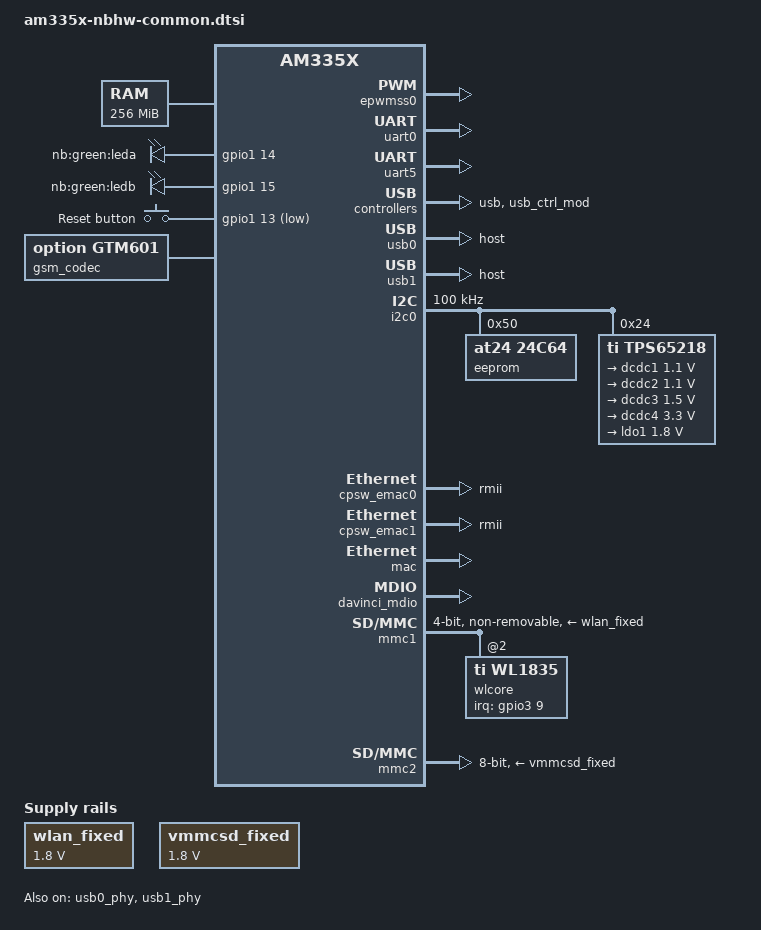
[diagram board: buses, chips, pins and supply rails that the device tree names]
/*
 * Copyright (C) 2012 Texas Instruments Incorporated - http://www.ti.com/
 *
 * This program is free software; you can redistribute it and/or modify
 * it under the terms of the GNU General Public License version 2 as
 * published by the Free Software Foundation.
 */

#include <dt-bindings/interrupt-controller/irq.h>
/ {
	cpus {
		cpu@0 {
			cpu0-supply = <&dcdc1>;
		};
	};

	memory {
		device_type = "memory";
		reg = <0x80000000 0x10000000>; /* 256 MB */
	};

	leds {
		pinctrl-names = "default";
		pinctrl-0 = <&user_leds_s0>;

		compatible = "gpio-leds";

		led@1 {
			label = "nb:green:leda";
			gpios = <&gpio1 14 GPIO_ACTIVE_HIGH>;
			default-state = "off";
		};

		led@2 {
			label = "nb:green:ledb";
			gpios = <&gpio1 15 GPIO_ACTIVE_HIGH>;
			default-state = "on";
		};
	};

	gpio-keys {
		pinctrl-names = "default";
		pinctrl-0 = <&user_buttons_s0>;

		compatible = "gpio-keys";

		reset_button: reset-button {
			label = "Reset button";
			gpios = <&gpio1 13 GPIO_ACTIVE_LOW>;
			linux,code = <0x198>; /* KEY_RESTART */
		};
	};


	wlan_fixed: fixedregulator@0 {
		compatible = "regulator-fixed";
		regulator-name = "wlan_fixed";
		regulator-min-microvolt = <1800000>;
		regulator-max-microvolt = <1800000>;

		startup-delay-us = <700000>;
		enable-active-high;
	};

	vmmcsd_fixed: fixedregulator@1 {
		compatible = "regulator-fixed";
		regulator-name = "vmmcsd_fixed";
		regulator-min-microvolt = <1800000>;
		regulator-max-microvolt = <1800000>;
	};

	gsm_codec: gtm601_codec {
		compatible = "option,gtm601";
		#sound-dai-cells = <0>;
	};

	sound {
		compatible = "simple-audio-card";
		simple-audio-card,name = "AM335x-GSM";
		simple-audio-card,bitclock-master = <&sound_master>;
		simple-audio-card,frame-master = <&sound_master>;
		simple-audio-card,format = "i2s";

		simple-audio-card,cpu {
			sound-dai = <&mcasp0>;
		};

		sound_master: simple-audio-card,codec {
			sound-dai = <&gsm_codec>;
		};
	};
};

&epwmss0 {
	status = "okay";

	ecap0: ecap@48300100 {
		status = "okay";
		pinctrl-names = "default";
		pinctrl-0 = <&ecap0_pins>;
	};
};

&uart0 {
	pinctrl-names = "default";
	pinctrl-0 = <&uart0_pins>;

	status = "okay";
};

&uart5 {
	pinctrl-names = "default";
	pinctrl-0 = <&bt_uart_pins>;

	status = "okay";
};

&usb {
	status = "okay";
};

&usb_ctrl_mod {
	status = "okay";
};

&usb0_phy {
	pinctrl-names = "default";
	pinctrl-0 =  <&usb_gsm_pins>;
	status = "okay";
};

&usb1_phy {
	pinctrl-names = "default";
	pinctrl-0 =  <&usb_expansion_pins>;
	status = "okay";
};

&usb0 {
	status = "okay";
	dr_mode = "host";
};

&usb1 {
	status = "okay";
	dr_mode = "host";
};

&cppi41dma  {
	status = "okay";
};

&i2c0 {
	pinctrl-names = "default";
	pinctrl-0 = <&i2c0_pins>;

	status = "okay";
	clock-frequency = <100000>;

	eeprom: at24@50 {
		compatible = "at24,24c64";
		pagesize = <8>;
		reg = <0x50>;
	};

	tps65218: tps65218@24 {
		reg = <0x24>;
		compatible = "ti,tps65218";
		interrupt-parent = <&intc>;
		interrupts = <7>;	/* NNMI */
		#interrupt-cells = <2>;

		dcdc1: regulator-dcdc1 {
			compatible = "ti,tps65218-dcdc1";
			regulator-name = "vdd_core";
			regulator-min-microvolt = <1100000>;
			regulator-max-microvolt = <1100000>;
			regulator-boot-on;
			regulator-always-on;
		};

		dcdc2: regulator-dcdc2 {
			compatible = "ti,tps65218-dcdc2";
			regulator-name = "vdd_mpu";
			regulator-min-microvolt = <1100000>;
			regulator-max-microvolt = <1100000>;
			regulator-boot-on;
			regulator-always-on;
		};

		dcdc3: regulator-dcdc3 {
			compatible = "ti,tps65218-dcdc3";
			regulator-name = "vdd_ddr";
			regulator-min-microvolt = <1500000>;
			regulator-max-microvolt = <1500000>;
			regulator-boot-on;
			regulator-always-on;
		};

		dcdc4: regulator-dcdc4 {
			compatible = "ti,tps65218-dcdc4";
			regulator-name = "v3_3d";
			regulator-min-microvolt = <3300000>;
			regulator-max-microvolt = <3300000>;
			regulator-boot-on;
			regulator-always-on;
		};

		ldo1: regulator-ldo1 {
			compatible = "ti,tps65218-ldo1";
			regulator-min-microvolt = <1800000>;
			regulator-max-microvolt = <1800000>;
			regulator-boot-on;
			regulator-always-on;
		};
	};
};

&mcasp0 {
	#sound-dai-cells = <0>;
	pinctrl-names = "default", "sleep";
	pinctrl-0 = <&pcm_pins>;
	pinctrl-1 = <&pcm_pins>;

	status = "disabled";

	op-mode = <1>;		  /* S/PDIF */
	tdm-slots = <1>;
	/* 4 serializers */
	serial-dir = <  /* 0: INACTIVE, 1: TX, 2: RX */
		1 2 0 0
	>;
	tx-num-evt = <32>;
	rx-num-evt = <32>;
};

&cpsw_emac0 {
	phy_id = <&davinci_mdio>, <0>;
	phy-mode = "rmii";
};

&cpsw_emac1 {
	phy_id = <&davinci_mdio>, <1>;
	phy-mode = "rmii";
};

&phy_sel {
	rmii-clock-ext;
};

&mac {
	pinctrl-names = "default";
	pinctrl-0 = <&cpsw_default>;
	status = "okay";
};

&davinci_mdio {
	pinctrl-names = "default", "sleep";
	pinctrl-0 = <&davinci_mdio_default>;
	pinctrl-1 = <&davinci_mdio_sleep>;
	bus_freq = <2000000>;
	status = "okay";
};

&mmc1 {
	status = "okay";
	pinctrl-names = "default";
	pinctrl-0 = <&sdio_wlan_pins>;
	bus-width = <0x4>;
	vmmc-supply = <&wlan_fixed>;
	non-removable;
	ti,non-removable;
	keep-power-in-suspend;

	#address-cells = <1>;
	#size-cells = <0>;
	wlcore: wlcore@2 {
		status = "okay";
		compatible = "ti,wl1835";
		reg = <2>;
		interrupt-parent = <&gpio3>;
		interrupts = <9 IRQ_TYPE_LEVEL_HIGH>;
	};

};

&mmc2 {
	vmmc-supply = <&vmmcsd_fixed>;
	pinctrl-names = "default";
	pinctrl-0 = <&emmc_pins>;
	bus-width = <8>;
	status = "okay";
};

&rtc {
	ti,hwmod-disabled;
	status = "disabled";
};

&wdt2 {
	ti,hwmod-disabled;
	status = "disabled";
};

&timer1 {
	ti,no-reset-on-init;
	ti,no-idle-on-init;
	ti,no_idle_on_suspend;
};

// We dont want to lose the gpio state that was set in u-boot
&gpio0 {
	ti,gpio-always-on;
	ti,no-reset-on-init;
	ti,no-idle-on-init;
};

&gpio1 {
	ti,gpio-always-on;
	ti,no-reset-on-init;
	ti,no-idle-on-init;
};

&gpio2 {
	ti,gpio-always-on;
	ti,no-reset-on-init;
	ti,no-idle-on-init;
};

&gpio3 {
	ti,gpio-always-on;
	ti,no-reset-on-init;
	ti,no-idle-on-init;
};

